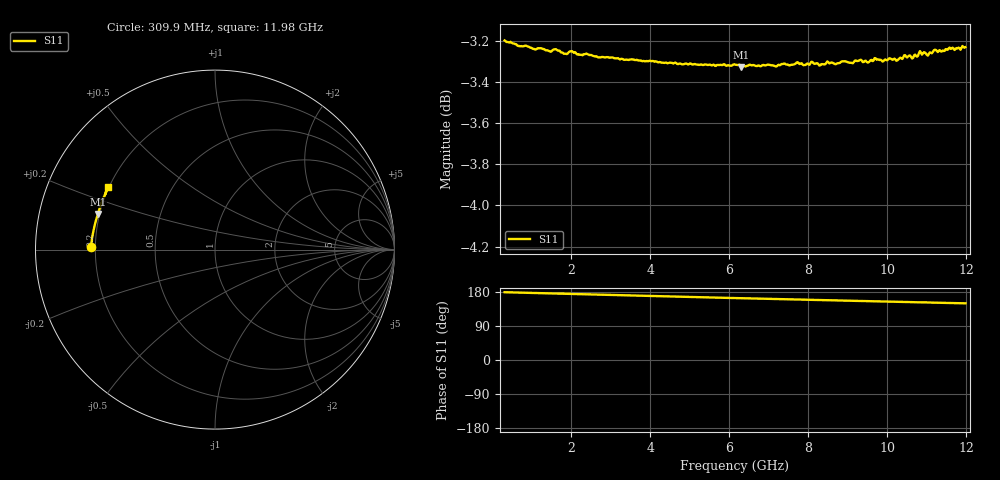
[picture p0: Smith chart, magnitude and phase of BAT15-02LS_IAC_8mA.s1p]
! Infineon Technologies  Discrete & RF Semiconductors
! BAT15-02ELS
! IAC = 8 mA
! One-Port S-Parameters
# Hz  S  MA  R  50
!f  S11
!Hz  Mag  Ang
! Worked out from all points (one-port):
!   468 points, 309.9 MHz to 11.98 GHz, reference 50 ohm
!   lowest |S11| = -3.3 dB at 6.307 GHz (marker M1), VSWR 5.29, Z = 9.66 + j7.18 ohm
!   |S11| at or under -10 dB: nowhere
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3.0985e8  0.692 178.9
1.584212e9  0.6886 175.4
1.784112e9  0.6873 174.8
2.033988e9  0.6877 174.1
3.233388e9  0.6847 170.9
4.70765e9  0.6829 167.0
6.156925e9  0.6827 163.5
6.30685e9  0.6819 163.1
7.6062e9  0.6827 159.9
7.831088e9  0.6832 159.4
8.030988e9  0.6827 158.8
8.2059e9  0.6832 158.5
8.4058e9  0.6828 157.9
8.6057e9  0.6835 157.6
8.780612e9  0.6833 157.0
8.930538e9  0.684 156.8
9.080462e9  0.6834 156.4
9.730138e9  0.6846 154.9
9.980012e9  0.6844 154.1
1.017991e10  0.685 153.8
1.037981e10  0.6849 153.2
1.052974e10  0.6859 152.9
1.075462e10  0.6857 152.3
1.095452e10  0.6873 152.0
1.112944e10  0.6871 151.5
1.127936e10  0.6875 151.3
1.145428e10  0.688 150.8
1.197901e10  0.6894 149.6
